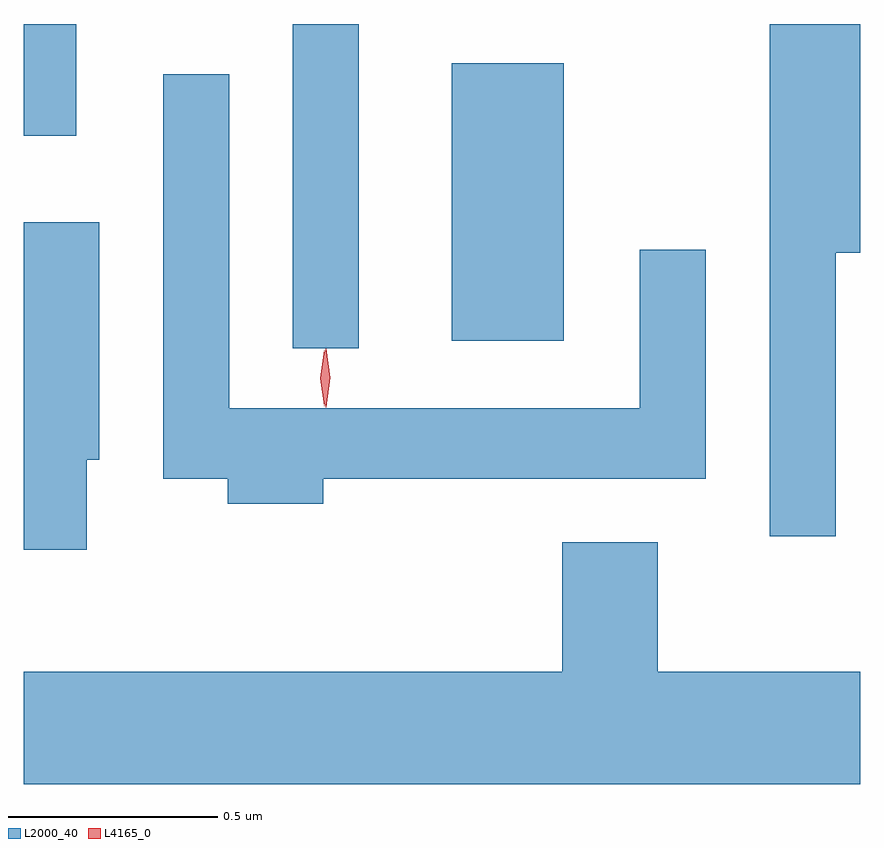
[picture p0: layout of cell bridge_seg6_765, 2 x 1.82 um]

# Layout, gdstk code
import gdstk
lib = gdstk.Library(unit=1e-6, precision=1e-09)
def R(c, l, rs):  # rectangles x0, y0, x1, y1
    for r in rs: c.add(gdstk.rectangle(r[:2], r[2:], *l))
def P(c, l, *ps):  # polygons
    for p in ps: c.add(gdstk.Polygon(p, *l))
L2000_40 = (2000, 40)
L4165_0 = (4165, 0)

bridge_seg6_765 = lib.new_cell('bridge_seg6_765')
R(bridge_seg6_765, L2000_40, [(585.246,1535.538,585.404,1536.313), (585.626,1535.556,585.894,1536.219), (584.603,1536.046,584.729,1536.313)])
P(bridge_seg6_765, L2000_40, [(586.544,1535.766),(586.603,1535.766),(586.603,1536.313),(586.386,1536.313),(586.386,1535.088),(586.544,1535.088)],
  [(585.319,1535.226),(586.234,1535.226),(586.234,1535.773),(586.076,1535.773),(586.076,1535.394),(585.094,1535.394),(585.094,1536.193),(584.936,1536.193),(584.936,1535.226),(585.091,1535.226),(585.091,1535.166),(585.319,1535.166)],
  [(584.754,1535.271),(584.784,1535.271),(584.784,1535.839),(584.603,1535.839),(584.603,1535.056),(584.754,1535.056)],
  [(586.603,1534.764),(586.119,1534.764),(586.119,1535.074),(585.891,1535.074),(585.891,1534.764),(584.603,1534.764),(584.603,1534.496),(586.603,1534.496)])
P(bridge_seg6_765, L4165_0, [(585.322,1535.399),(585.321,1535.4),(585.312,1535.466),(585.321,1535.533),(585.322,1535.533),(585.322,1535.533),(585.332,1535.466),(585.322,1535.4)],
  [(585.325,1535.397),(585.316,1535.467),(585.325,1535.536),(585.326,1535.536),(585.326,1535.536),(585.336,1535.467),(585.326,1535.397),(585.326,1535.397)])

lib.write_gds('bridge_seg6_765.gds')
